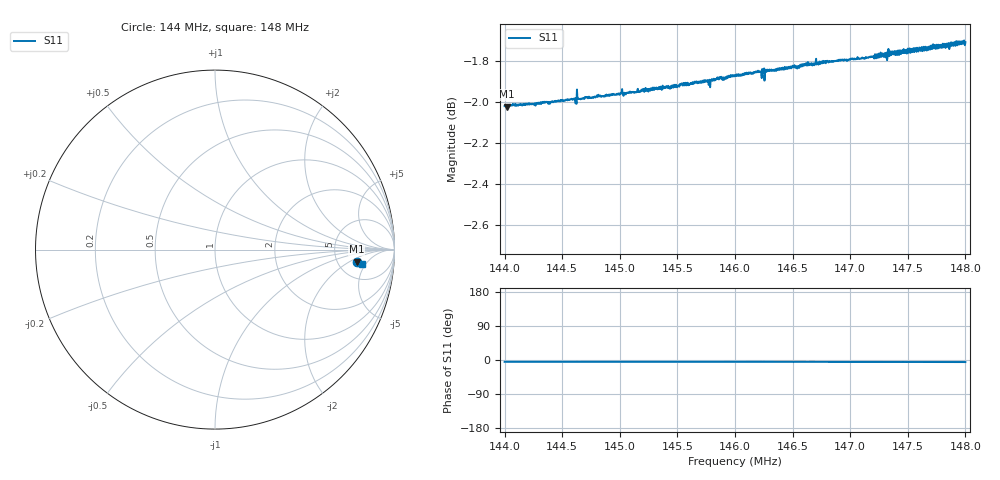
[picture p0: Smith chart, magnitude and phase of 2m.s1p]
! Calibrated averaged scanner-service zoom
# Hz S RI R 50
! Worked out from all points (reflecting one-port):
!   1001 points, 144 MHz to 148 MHz, reference 50 ohm
!   lowest |S11| = -2.0 dB at 144.02 MHz (marker M1), VSWR 8.63, Z = 380 - j138 ohm
!   phase of S11 starts at -5 deg and turns -1 deg over the sweep
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1.44e8  0.7896 -0.0674
1.4402e8  0.7894 -0.0677
1.445e8  0.7926 -0.0658
1.44604e8  0.7927 -0.0666
1.44648e8  0.7929 -0.0664
1.44656e8  0.7929 -0.0669
1.44756e8  0.7933 -0.0668
1.45e8  0.7953 -0.066
1.455e8  0.7987 -0.0668
1.4554e8  0.7999 -0.0663
1.45744e8  0.8007 -0.0669
1.45772e8  0.7992 -0.0661
1.45864e8  0.8027 -0.0669
1.45908e8  0.8019 -0.0674
1.46e8  0.8036 -0.0674
1.46208e8  0.8048 -0.0688
1.46216e8  0.8053 -0.0683
1.46248e8  0.8049 -0.0675
1.46288e8  0.8052 -0.0692
1.465e8  0.8076 -0.0696
1.46784e8  0.8095 -0.0712
1.47e8  0.8102 -0.0727
1.4728e8  0.8129 -0.0739
1.47308e8  0.811 -0.0742
1.47348e8  0.8138 -0.0739
1.47424e8  0.8121 -0.0749
1.475e8  0.815 -0.0749
1.48e8  0.8176 -0.0788
